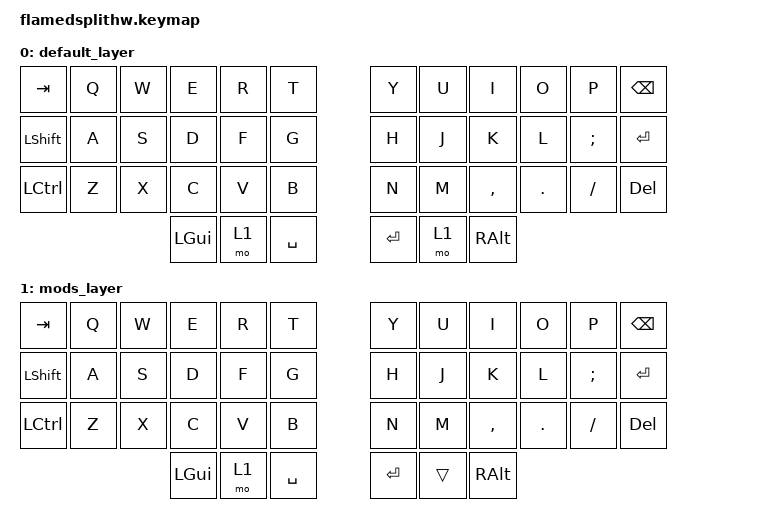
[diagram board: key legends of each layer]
/*
 * Copyright (c) 2020 The ZMK Contributors
 *
 * SPDX-License-Identifier: MIT
 */

#include <behaviors.dtsi>
#include <dt-bindings/zmk/keys.h>
#include <dt-bindings/zmk/bt.h>

/ {
        keymap {
                compatible = "zmk,keymap";

                default_layer {
// -----------------------------------------------------------------------------------------
// |  ESC |  Q  |  W  |  E  |  R  |  T  |   |  Y  |  U   |  I  |  O  |  P  | BSPC |
// | SHFT |  A  |  S  |  D  |  F  |  G  |   |  H  |  J   |  K  |  L  |  ;  |  RET |
// | CTRL |  Z  |  X  |  C  |  V  |  B  |   |  N  |  M   |  ,  |  .  |  /  | DEL  |
//                    | GUI | LWR | SPC |   | ENT | RSE  | ALT |
                        bindings = <
   &kp TAB   &kp Q &kp W &kp E &kp R &kp T   &kp Y &kp U  &kp I     &kp O   &kp P    &kp BSPC
   &kp LSHFT &kp A &kp S &kp D &kp F &kp G   &kp H &kp J  &kp K     &kp L   &kp SEMI &kp RET
   &kp LCTRL &kp Z &kp X &kp C &kp V &kp B   &kp N &kp M  &kp COMMA &kp DOT &kp FSLH &kp DEL
                  &kp LGUI &mo 1 &kp SPACE   &kp RET &mo 1 &kp RALT
                        >;
                };

                mods_layer {
// -----------------------------------------------------------------------------------------
// |  ESC |  Q  |  W  |  E  |  R  |  T  |   |  Y  |  U   |  I  |  O  |  P  | BSPC |
// | SHFT |  A  |  S  |  D  |  F  |  G  |   |  H  |  J   |  K  |  L  |  ;  |  RET |
// | CTRL |  Z  |  X  |  C  |  V  |  B  |   |  N  |  M   |  ,  |  .  |  /  | DEL  |
//                    | GUI | LWR | SPC |   | ENT | RSE  | ALT |
                        bindings = <
   &kp TAB   &kp Q &kp W &kp E &kp R &kp T   &kp Y &kp U  &kp I     &kp O   &kp P    &kp BSPC
   &kp LSHFT &kp A &kp S &kp D &kp F &kp G   &kp H &kp J  &kp K     &kp L   &kp SEMI &kp RET
   &kp LCTRL &kp Z &kp X &kp C &kp V &kp B   &kp N &kp M  &kp COMMA &kp DOT &kp FSLH &kp DEL
                  &kp LGUI &mo 1 &kp SPACE   &kp RET &trans &kp RALT
                        >;
                };

        };
};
